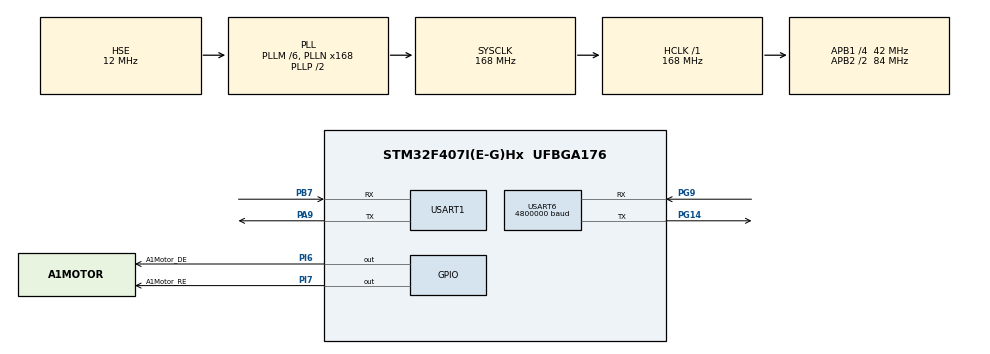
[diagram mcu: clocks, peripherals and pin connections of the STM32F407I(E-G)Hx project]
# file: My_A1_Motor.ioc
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Dma.Request0=USART6_RX
Dma.Request1=USART6_TX
Dma.Request2=USART1_RX
Dma.Request3=USART1_TX
Dma.USART1_RX.2.Direction=DMA_PERIPH_TO_MEMORY
Dma.USART1_RX.2.FIFOMode=DMA_FIFOMODE_DISABLE
Dma.USART1_RX.2.Instance=DMA2_Stream2
Dma.USART1_RX.2.MemDataAlignment=DMA_MDATAALIGN_BYTE
Dma.USART1_RX.2.MemInc=DMA_MINC_ENABLE
Dma.USART1_RX.2.Mode=DMA_NORMAL
Dma.USART1_RX.2.PeriphDataAlignment=DMA_PDATAALIGN_BYTE
Dma.USART1_RX.2.PeriphInc=DMA_PINC_DISABLE
Dma.USART1_RX.2.Priority=DMA_PRIORITY_LOW
Dma.USART1_TX.3.Direction=DMA_MEMORY_TO_PERIPH
Dma.USART1_TX.3.FIFOMode=DMA_FIFOMODE_DISABLE
Dma.USART1_TX.3.Instance=DMA2_Stream7
Dma.USART1_TX.3.MemDataAlignment=DMA_MDATAALIGN_BYTE
Dma.USART1_TX.3.MemInc=DMA_MINC_ENABLE
Dma.USART1_TX.3.Mode=DMA_NORMAL
Dma.USART1_TX.3.PeriphDataAlignment=DMA_PDATAALIGN_BYTE
Dma.USART1_TX.3.PeriphInc=DMA_PINC_DISABLE
Dma.USART1_TX.3.Priority=DMA_PRIORITY_LOW
Dma.USART6_RX.0.Direction=DMA_PERIPH_TO_MEMORY
Dma.USART6_RX.0.FIFOMode=DMA_FIFOMODE_DISABLE
Dma.USART6_RX.0.Instance=DMA2_Stream1
Dma.USART6_RX.0.MemDataAlignment=DMA_MDATAALIGN_BYTE
Dma.USART6_RX.0.MemInc=DMA_MINC_ENABLE
Dma.USART6_RX.0.Mode=DMA_CIRCULAR
Dma.USART6_RX.0.PeriphDataAlignment=DMA_PDATAALIGN_BYTE
Dma.USART6_RX.0.PeriphInc=DMA_PINC_DISABLE
Dma.USART6_RX.0.Priority=DMA_PRIORITY_VERY_HIGH
Dma.USART6_TX.1.Direction=DMA_MEMORY_TO_PERIPH
Dma.USART6_TX.1.FIFOMode=DMA_FIFOMODE_DISABLE
Dma.USART6_TX.1.Instance=DMA2_Stream6
Dma.USART6_TX.1.MemDataAlignment=DMA_MDATAALIGN_BYTE
Dma.USART6_TX.1.MemInc=DMA_MINC_ENABLE
Dma.USART6_TX.1.Mode=DMA_CIRCULAR
Dma.USART6_TX.1.PeriphDataAlignment=DMA_PDATAALIGN_BYTE
Dma.USART6_TX.1.PeriphInc=DMA_PINC_DISABLE
Dma.USART6_TX.1.Priority=DMA_PRIORITY_LOW
Mcu.Family=STM32F4
Mcu.Name=STM32F407I(E-G)Hx
Mcu.Package=UFBGA176
NVIC.DMA2_Stream1_IRQn=true\:0\:0\:false\:false\:true\:false\:true\:true
NVIC.DMA2_Stream2_IRQn=true\:0\:0\:false\:false\:true\:false\:true\:true
NVIC.DMA2_Stream6_IRQn=true\:0\:0\:false\:false\:true\:false\:true\:true
NVIC.DMA2_Stream7_IRQn=true\:0\:0\:false\:false\:true\:false\:true\:true
NVIC.PriorityGroup=NVIC_PRIORITYGROUP_4
NVIC.USART1_IRQn=true\:0\:0\:false\:false\:true\:true\:true\:true
NVIC.USART6_IRQn=true\:0\:0\:false\:false\:true\:true\:true\:true
PA13.Mode=Serial_Wire
PA13.Signal=SYS_JTMS-SWDIO
PA14.Mode=Serial_Wire
PA14.Signal=SYS_JTCK-SWCLK
PA9.Mode=Asynchronous
PA9.Signal=USART1_TX
PB7.Mode=Asynchronous
PB7.Signal=USART1_RX
PG14.Mode=Asynchronous
PG14.Signal=USART6_TX
PG9.Mode=Asynchronous
PG9.Signal=USART6_RX
PH0-OSC_IN.Mode=HSE-External-Oscillator
PH0-OSC_IN.Signal=RCC_OSC_IN
PH1-OSC_OUT.Mode=HSE-External-Oscillator
PH1-OSC_OUT.Signal=RCC_OSC_OUT
PI6.GPIO_Label=A1Motor_DE
PI6.Signal=GPIO_Output
PI7.GPIO_Label=A1Motor_RE
PI7.Signal=GPIO_Output
ProjectManager.HeapSize=0x200
ProjectManager.StackSize=0x400
ProjectManager.TargetToolchain=MDK-ARM V5
RCC.48MHZClocksFreq_Value=84000000
RCC.AHBFreq_Value=168000000
RCC.APB1CLKDivider=RCC_HCLK_DIV4
RCC.APB1Freq_Value=42000000
RCC.APB1TimFreq_Value=84000000
RCC.APB2CLKDivider=RCC_HCLK_DIV2
RCC.APB2Freq_Value=84000000
RCC.APB2TimFreq_Value=168000000
RCC.CortexFreq_Value=168000000
RCC.HCLKFreq_Value=168000000
RCC.HSE_VALUE=12000000
RCC.HSI_VALUE=16000000
RCC.LSE_VALUE=32768
RCC.PLLM=6
RCC.PLLN=168
RCC.PLLSourceVirtual=RCC_PLLSOURCE_HSE
RCC.SYSCLKFreq_VALUE=168000000
RCC.SYSCLKSource=RCC_SYSCLKSOURCE_PLLCLK
RCC.VCOOutputFreq_Value=336000000
USART1.VirtualMode=VM_ASYNC
USART6.BaudRate=4800000
USART6.VirtualMode=VM_ASYNC
board=custom

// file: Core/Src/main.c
/* USER CODE BEGIN Header */
/**
 ******************************************************************************
 * @file           : main.c
 * @brief          : Main program body
 ******************************************************************************
 * @attention
 *
 * Copyright (c) 2024 STMicroelectronics.
 * All rights reserved.
 *
 * This software is licensed under terms that can be found in the LICENSE file
 * in the root directory of this software component.
 * If no LICENSE file comes with this software, it is provided AS-IS.
 *
 ******************************************************************************
 */
/* USER CODE END Header */
#include "main.h"
#include "dma.h"
#include "usart.h"
#include "gpio.h"

/* USER CODE BEGIN Includes */

#include "arm_ctrl.h"
#include "vofa.h"
#define printf myprintf

/* USER CODE END Includes */

/* USER CODE BEGIN PV */

// extern motor_send_t cmd_motor;  	// 电机发送数据体
// extern motor_recv_t Date_motor;     // 电机接收数据体
uint8_t id = 0;
float torque = 0.07;
float kp = 0.000; // 0.02
float kd = 0.0; // 1.0
float pos = 0;
float real_pos = 0;

uint8_t direction = 0; //1上2下
extern float set_w;

extern unitree_ctrl_t unitree_Data;
extern ServoComdDataV3 motor_rx_temp;

/* USER CODE END PV */

void SystemClock_Config(void);

int main(void)
{

  /* MCU Configuration--------------------------------------------------------*/

  /* Reset of all peripherals, Initializes the Flash interface and the Systick. */
  HAL_Init();

  /* Configure the system clock */
  SystemClock_Config();

  /* Initialize all configured peripherals */
  MX_GPIO_Init();
  MX_DMA_Init();
  MX_USART6_UART_Init();
  MX_USART1_UART_Init();
  /* USER CODE BEGIN 2 */

//  unitree_Usart6_Init(Unitree_rx6_buf[0], Unitree_rx6_buf[1], Unitree_RX_BUF_NUM); // 宇树初始化
	Arm_Init();

  /* USER CODE END 2 */

  /* Infinite loop */
  /* USER CODE BEGIN WHILE */
  while (1)
  {
//	unitree_torque_ctrl(&unitree_Data, torque);
//	modfiy_position_cmd(&unitree_Data.unitree_send, 0, pos, kp, kd);
//	UnitreeSend(&unitree_Data.unitree_send);
//	ExtractData(&unitree_Data.unitree_recv, &motor_rx_temp);

	  unitree_pos_pid_ctrl(pos);
	  //unitree_w_pid_ctrl(set_w);

	  //unitree_move(direction, pos, set_w);

	  unitree_save_check();
	  real_pos = unitree_Data.unitree_recv.Pos - unitree_Data.zero_pose;
	  printf("%f,%f,%f,%f,%f\n", pos, real_pos, unitree_Data.unitree_recv.LW, set_w, unitree_Data.unitree_recv.W);

	HAL_Delay(10);

    /* USER CODE END WHILE */

  }
}

void SystemClock_Config(void)
{
  RCC_OscInitTypeDef RCC_OscInitStruct = {0};
  RCC_ClkInitTypeDef RCC_ClkInitStruct = {0};

  /** Configure the main internal regulator output voltage
  */
  __HAL_RCC_PWR_CLK_ENABLE();
  __HAL_PWR_VOLTAGESCALING_CONFIG(PWR_REGULATOR_VOLTAGE_SCALE1);

  /** Initializes the RCC Oscillators according to the specified parameters
  * in the RCC_OscInitTypeDef structure.
  */
  RCC_OscInitStruct.OscillatorType = RCC_OSCILLATORTYPE_HSE;
  RCC_OscInitStruct.HSEState = RCC_HSE_ON;
  RCC_OscInitStruct.PLL.PLLState = RCC_PLL_ON;
  RCC_OscInitStruct.PLL.PLLSource = RCC_PLLSOURCE_HSE;
  RCC_OscInitStruct.PLL.PLLM = 6;
  RCC_OscInitStruct.PLL.PLLN = 168;
  RCC_OscInitStruct.PLL.PLLP = RCC_PLLP_DIV2;
  RCC_OscInitStruct.PLL.PLLQ = 4;
  if (HAL_RCC_OscConfig(&RCC_OscInitStruct) != HAL_OK)
  {
    Error_Handler();
  }

  /** Initializes the CPU, AHB and APB buses clocks
  */
  RCC_ClkInitStruct.ClockType = RCC_CLOCKTYPE_HCLK|RCC_CLOCKTYPE_SYSCLK
                              |RCC_CLOCKTYPE_PCLK1|RCC_CLOCKTYPE_PCLK2;
  RCC_ClkInitStruct.SYSCLKSource = RCC_SYSCLKSOURCE_PLLCLK;
  RCC_ClkInitStruct.AHBCLKDivider = RCC_SYSCLK_DIV1;
  RCC_ClkInitStruct.APB1CLKDivider = RCC_HCLK_DIV4;
  RCC_ClkInitStruct.APB2CLKDivider = RCC_HCLK_DIV2;

  if (HAL_RCC_ClockConfig(&RCC_ClkInitStruct, FLASH_LATENCY_5) != HAL_OK)
  {
    Error_Handler();
  }
}

void Error_Handler(void)
{
  __disable_irq();
  while (1)
  {
  }
}
